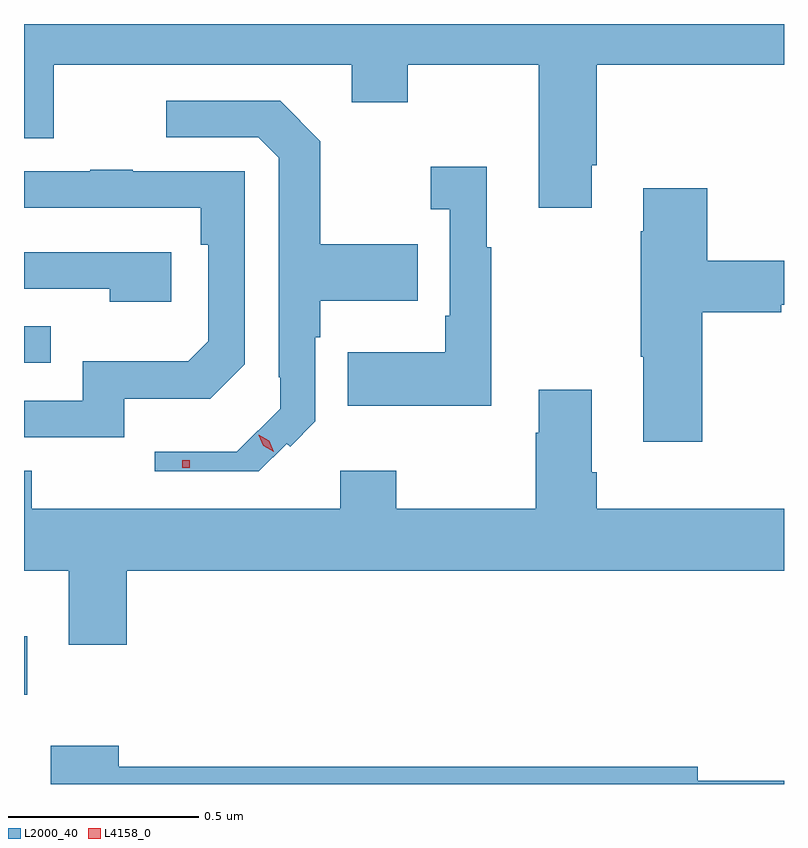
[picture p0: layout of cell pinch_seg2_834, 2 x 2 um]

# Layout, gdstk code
import gdstk
lib = gdstk.Library(unit=1e-6, precision=1e-09)
def R(c, l, rs):  # rectangles x0, y0, x1, y1
    for r in rs: c.add(gdstk.rectangle(r[:2], r[2:], *l))
def P(c, l, *ps):  # polygons
    for p in ps: c.add(gdstk.Polygon(p, *l))
L2000_40 = (2000, 40)
L4158_0 = (4158, 0)

pinch_seg2_834 = lib.new_cell('pinch_seg2_834')
R(pinch_seg2_834, L2000_40, [(750.223,590.034,750.232,590.188), (750.223,590.907,750.293,591.003)])
P(pinch_seg2_834, L2000_40, [(751.717,591.427),(751.73,591.427),(751.73,591.692),(752.223,591.692),(752.223,591.799),(750.223,591.799),(750.223,591.498),(750.301,591.498),(750.301,591.692),(751.085,591.692),(751.085,591.593),(751.233,591.593),(751.233,591.692),(751.577,591.692),(751.577,591.315),(751.717,591.315)],
  [(750.914,590.695),(750.923,590.686),(750.99,590.753),(750.99,590.975),(751.003,590.975),(751.003,591.071),(751.259,591.071),(751.259,591.219),(751.003,591.219),(751.003,591.491),(750.897,591.597),(750.597,591.597),(750.597,591.501),(750.84,591.501),(750.894,591.447),(750.894,590.869),(750.897,590.869),(750.897,590.787),(750.783,590.673),(750.567,590.673),(750.567,590.622),(750.841,590.622)],
  [(751.453,591.211),(751.441,591.211),(751.441,591.424),(751.293,591.424),(751.293,591.311),(751.344,591.311),(751.344,591.031),(751.332,591.031),(751.332,590.935),(751.075,590.935),(751.075,590.795),(751.453,590.795)],
  [(750.487,590.813),(750.713,590.813),(750.804,590.904),(750.804,591.411),(750.509,591.411),(750.509,591.416),(750.397,591.416),(750.397,591.411),(750.223,591.411),(750.223,591.315),(750.688,591.315),(750.688,591.218),(750.708,591.218),(750.708,590.964),(750.655,590.911),(750.378,590.911),(750.378,590.808),(750.223,590.808),(750.223,590.712),(750.487,590.712)],
  [(752.008,591.04),(752.216,591.04),(752.216,591.06),(752.223,591.06),(752.223,591.176),(752.021,591.176),(752.021,591.367),(751.853,591.367),(751.853,591.254),(751.846,591.254),(751.846,590.923),(751.853,590.923),(751.853,590.7),(752.008,590.7)],
  [(750.61,591.198),(750.223,591.198),(750.223,591.102),(750.449,591.102),(750.449,591.068),(750.61,591.068)],
  [(750.494,590.36),(752.223,590.36),(752.223,590.524),(751.73,590.524),(751.73,590.62),(751.717,590.62),(751.717,590.836),(751.577,590.836),(751.577,590.723),(751.57,590.723),(751.57,590.524),(751.203,590.524),(751.203,590.623),(751.055,590.623),(751.055,590.524),(750.243,590.524),(750.243,590.623),(750.223,590.623),(750.223,590.36),(750.341,590.36),(750.341,590.166),(750.494,590.166)],
  [(752.223,589.808),(751.996,589.808),(751.996,589.844),(750.472,589.844),(750.472,589.9),(750.293,589.9),(750.293,589.799),(752.223,589.799)])
R(pinch_seg2_834, L4158_0, [(750.639,590.631,750.659,590.651)])
P(pinch_seg2_834, L4158_0, [(750.88,590.673),(750.853,590.689),(750.841,590.717),(750.841,590.718),(750.841,590.718),(750.868,590.702),(750.88,590.673),(750.88,590.673)])

lib.write_gds('pinch_seg2_834.gds')
